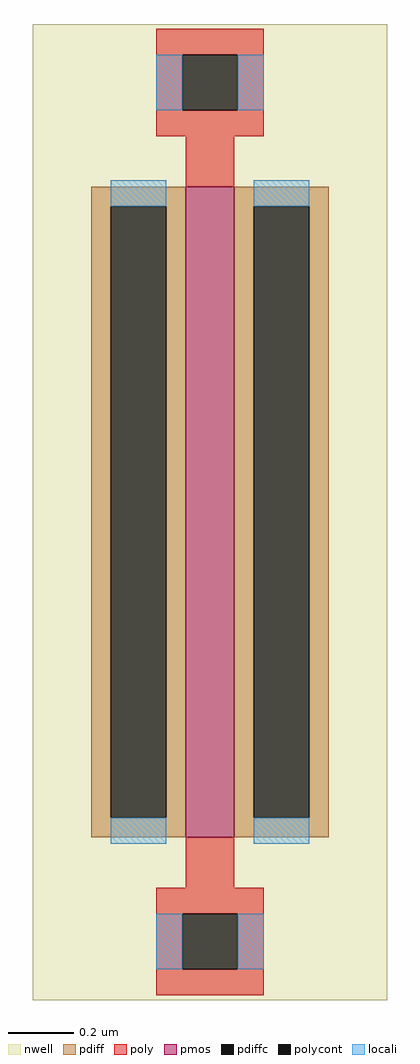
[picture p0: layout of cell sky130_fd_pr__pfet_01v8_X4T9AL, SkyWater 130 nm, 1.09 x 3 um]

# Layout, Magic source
magic
tech sky130A
magscale 1 2
<< nwell >>
rect -109 -300 109 300
<< pmos >>
rect -15 -200 15 200
<< pdiff >>
rect -73 188 -15 200
rect -73 -188 -61 188
rect -27 -188 -15 188
rect -73 -200 -15 -188
rect 15 188 73 200
rect 15 -188 27 188
rect 61 -188 73 188
rect 15 -200 73 -188
<< pdiffc >>
rect -61 -188 -27 188
rect 27 -188 61 188
<< poly >>
rect -33 281 33 297
rect -33 247 -17 281
rect 17 247 33 281
rect -33 231 33 247
rect -15 200 15 231
rect -15 -231 15 -200
rect -33 -247 33 -231
rect -33 -281 -17 -247
rect 17 -281 33 -247
rect -33 -297 33 -281
<< polycont >>
rect -17 247 17 281
rect -17 -281 17 -247
<< locali >>
rect -33 247 -17 281
rect 17 247 33 281
rect -61 188 -27 204
rect -61 -204 -27 -188
rect 27 188 61 204
rect 27 -204 61 -188
rect -33 -281 -17 -247
rect 17 -281 33 -247
<< properties >>
string gencell sky130_fd_pr__pfet_01v8
string parameters w 2 l 0.15 m 1 nf 1 diffcov 100 polycov 100 guard 0 glc 1 grc 1 gtc 1 gbc 1 tbcov 100 rlcov 100 topc 1 botc 1 poverlap 0 doverlap 1 lmin 0.15 wmin 0.42 compatible {sky130_fd_pr__pfet_01v8  sky130_fd_pr__pfet_01v8_lvt sky130_fd_pr__pfet_01v8_hvt  sky130_fd_pr__pfet_g5v0d10v5} full_metal 1 viasrc 100 viadrn 100 viagate 100 viagb 0 viagr 0 viagl 0 viagt 0
string library sky130
<< end >>
